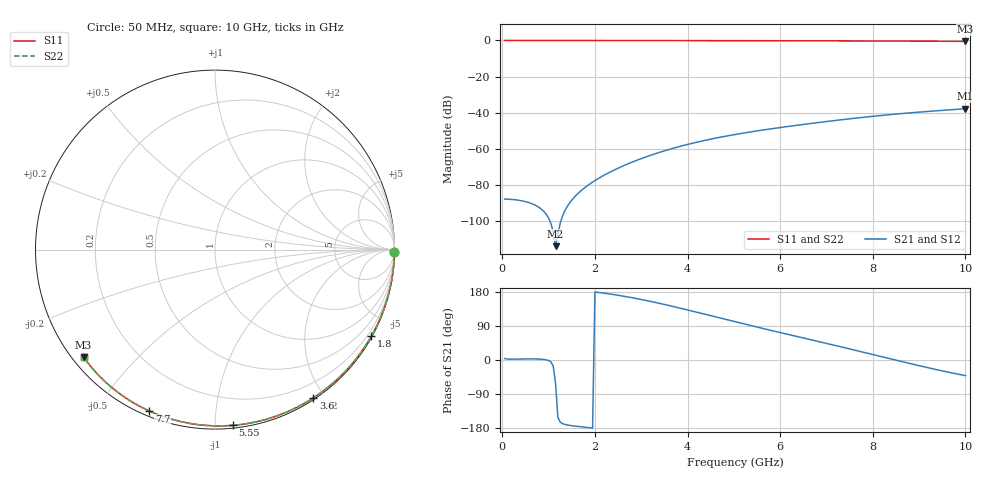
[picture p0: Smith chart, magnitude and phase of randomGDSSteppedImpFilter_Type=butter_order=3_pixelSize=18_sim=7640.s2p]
! freq	dB(S11)	phase(S11)	dB(S12)	phase(S12)
!  dB(S21)	phase(S21)	dB(S22)	phase(S22)
!S-par simulation data
#  GHz  S  DB  R 50
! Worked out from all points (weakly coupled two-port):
!   200 points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, 50 MHz to 10 GHz, reference 50 ohm
!   highest |S21| = -37.76 dB at 10 GHz (marker M1); lowest = -113.8 dB at 1.15 GHz (marker M2)
!   lowest |S11| = -0.5 dB at 10 GHz (marker M3), VSWR 36.04, Z = 1.56 - j17.8 ohm
!   |S11| at or under -10 dB: nowhere
!   |S22| runs from -0.5 to 0.0 dB; largest |S21 - S12| = 0
!   S11 on the Smith chart (normalised r, x): 50 MHz: open; 1.8 GHz: 0.03, -3.88; 3.6 GHz: 0.02, -1.86; 5.55 GHz: 0.02, -1.11; 7.7 GHz: 0.02, -0.67; 10 GHz: 0.03, -0.36
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0.05  -0.00 -0.8  -87.73 4.1  -87.73 4.1  -0.00 -0.8
0.6  -0.01 -9.8  -89.90 3.0  -89.90 3.0  -0.01 -9.8
1.15  -0.02 -18.6  -113.76 -61.1  -113.76 -61.1  -0.02 -18.6
1.75  -0.04 -28.1  -82.02 -176.9  -82.02 -176.9  -0.04 -28.1
1.8  -0.04 -28.9  -81.01 -177.6  -81.01 -177.6  -0.04 -28.9
1.85  -0.04 -29.7  -80.07 -178.3  -80.07 -178.3  -0.04 -29.7
2.15  -0.04 -34.4  -75.19 177.2  -75.19 177.2  -0.04 -34.4
2.35  -0.05 -37.5  -72.48 173.7  -72.48 173.7  -0.05 -37.5
2.55  -0.05 -40.6  -70.05 169.8  -70.05 169.8  -0.05 -40.6
2.95  -0.06 -46.7  -65.83 160.9  -65.83 160.9  -0.06 -46.7
3.4  -0.07 -53.5  -61.84 149.3  -61.84 149.3  -0.07 -53.5
3.6  -0.08 -56.4  -60.28 143.8  -60.28 143.8  -0.08 -56.4
3.9  -0.08 -60.8  -58.16 135.0  -58.16 135.0  -0.08 -60.8
4.3  -0.09 -66.6  -55.68 123.0  -55.68 123.0  -0.09 -66.6
5.05  -0.12 -77.2  -51.90 100.2  -51.90 100.2  -0.12 -77.2
5.55  -0.14 -84.1  -49.83 85.4  -49.83 85.4  -0.14 -84.1
6.1  -0.16 -91.5  -47.80 69.6  -47.80 69.6  -0.16 -91.5
6.7  -0.19 -99.4  -45.78 52.4  -45.78 52.4  -0.19 -99.4
7.7  -0.26 -112.2  -42.76 23.4  -42.76 23.4  -0.26 -112.2
8.35  -0.31 -120.4  -41.07 4.1  -41.07 4.1  -0.31 -120.4
9.2  -0.39 -130.9  -39.23 -20.6  -39.23 -20.6  -0.39 -130.9
10  -0.48 -140.7  -37.76 -41.2  -37.76 -41.2  -0.48 -140.7
